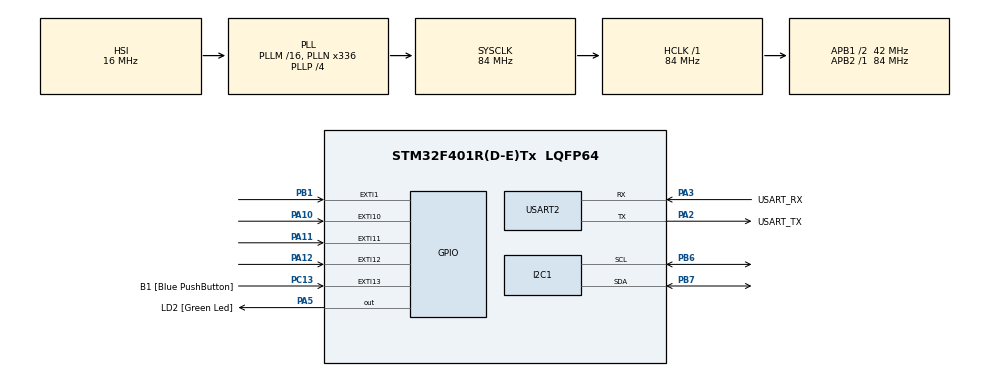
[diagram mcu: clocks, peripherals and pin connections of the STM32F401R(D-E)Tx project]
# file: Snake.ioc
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Mcu.Family=STM32F4
Mcu.Name=STM32F401R(D-E)Tx
Mcu.Package=LQFP64
NVIC.EXTI15_10_IRQn=true\:0\:0\:false\:false\:true\:true\:true\:true
NVIC.EXTI1_IRQn=true\:0\:0\:false\:false\:true\:true\:true\:true
NVIC.PriorityGroup=NVIC_PRIORITYGROUP_4
NVIC.TIM3_IRQn=true\:0\:0\:false\:false\:true\:true\:true\:true
PA10.GPIO_PuPd=GPIO_PULLUP
PA10.Signal=GPXTI10
PA11.GPIO_PuPd=GPIO_PULLUP
PA11.Signal=GPXTI11
PA12.GPIO_PuPd=GPIO_PULLUP
PA12.Signal=GPXTI12
PA13.GPIO_Label=TMS
PA13.Mode=Trace_Asynchronous_SW
PA13.Signal=SYS_JTMS-SWDIO
PA14.GPIO_Label=TCK
PA14.Mode=Trace_Asynchronous_SW
PA14.Signal=SYS_JTCK-SWCLK
PA2.GPIO_Label=USART_TX
PA2.GPIO_Mode=GPIO_MODE_AF_PP
PA2.GPIO_PuPd=GPIO_NOPULL
PA2.GPIO_Speed=GPIO_SPEED_FREQ_LOW
PA2.Mode=Asynchronous
PA2.Signal=USART2_TX
PA3.GPIO_Label=USART_RX
PA3.GPIO_Mode=GPIO_MODE_AF_PP
PA3.GPIO_PuPd=GPIO_NOPULL
PA3.GPIO_Speed=GPIO_SPEED_FREQ_LOW
PA3.Mode=Asynchronous
PA3.Signal=USART2_RX
PA5.GPIO_Label=LD2 [Green Led]
PA5.GPIO_Mode=GPIO_MODE_OUTPUT_PP
PA5.GPIO_PuPd=GPIO_NOPULL
PA5.GPIO_Speed=GPIO_SPEED_FREQ_LOW
PA5.Signal=GPIO_Output
PB1.GPIO_PuPd=GPIO_PULLUP
PB1.Signal=GPXTI1
PB3.GPIO_Label=SWO
PB3.Mode=Trace_Asynchronous_SW
PB3.Signal=SYS_JTDO-SWO
PB6.Mode=I2C
PB6.Signal=I2C1_SCL
PB7.Mode=I2C
PB7.Signal=I2C1_SDA
PC13-ANTI_TAMP.GPIO_Label=B1 [Blue PushButton]
PC13-ANTI_TAMP.GPIO_ModeDefaultEXTI=GPIO_MODE_IT_FALLING
PC13-ANTI_TAMP.GPIO_PuPd=GPIO_PULLDOWN
PC13-ANTI_TAMP.Signal=GPXTI13
PC14-OSC32_IN.Mode=LSE-External-Oscillator
PC14-OSC32_IN.Signal=RCC_OSC32_IN
PC15-OSC32_OUT.Mode=LSE-External-Oscillator
PC15-OSC32_OUT.Signal=RCC_OSC32_OUT
PH0\ -\ OSC_IN.Mode=HSE-External-Clock-Source
PH0\ -\ OSC_IN.Signal=RCC_OSC_IN
PH1\ -\ OSC_OUT.Mode=HSE-External-Clock-Source
PH1\ -\ OSC_OUT.Signal=RCC_OSC_OUT
ProjectManager.HeapSize=0x200
ProjectManager.StackSize=0x400
ProjectManager.TargetToolchain=STM32CubeIDE
RCC.48MHZClocksFreq_Value=48000000
RCC.AHBFreq_Value=84000000
RCC.APB1CLKDivider=RCC_HCLK_DIV2
RCC.APB1Freq_Value=42000000
RCC.APB1TimFreq_Value=84000000
RCC.APB2Freq_Value=84000000
RCC.APB2TimFreq_Value=84000000
RCC.CortexFreq_Value=84000000
RCC.HCLKFreq_Value=84000000
RCC.HSE_VALUE=8000000
RCC.HSI_VALUE=16000000
RCC.PLLN=336
RCC.PLLP=RCC_PLLP_DIV4
RCC.PLLQ=7
RCC.SYSCLKFreq_VALUE=84000000
RCC.SYSCLKSource=RCC_SYSCLKSOURCE_PLLCLK
RCC.VCOOutputFreq_Value=336000000
TIM3.AutoReloadPreload=TIM_AUTORELOAD_PRELOAD_ENABLE
TIM3.Prescaler=640
USART2.VirtualMode=VM_ASYNC
VP_TIM3_VS_ClockSourceINT.Mode=Internal
board=NUCLEO-F401RE

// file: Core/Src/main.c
/* USER CODE BEGIN Header */
/**
  ******************************************************************************
  * @file           : main.c
  * @brief          : Main program body
  ******************************************************************************
  * @attention
  *
  * Copyright (c) 2025 STMicroelectronics.
  * All rights reserved.
  *
  * This software is licensed under terms that can be found in the LICENSE file
  * in the root directory of this software component.
  * If no LICENSE file comes with this software, it is provided AS-IS.
  *
  ******************************************************************************
  */
/* USER CODE END Header */
#include "main.h"

/* USER CODE BEGIN Includes */
#include "snake.h"
#include "i2c-lcd.h"
/* USER CODE END Includes */

I2C_HandleTypeDef hi2c1;

TIM_HandleTypeDef htim3;

UART_HandleTypeDef huart2;

void SystemClock_Config(void);
static void MX_GPIO_Init(void);
static void MX_TIM3_Init(void);
static void MX_USART2_UART_Init(void);
static void MX_I2C1_Init(void);
/* USER CODE BEGIN PFP */
void HAL_TIM_PeriodElapsedCallback(TIM_HandleTypeDef *htim);
/* USER CODE END PFP */

/* USER CODE BEGIN 0 */

Snake snake;

/* USER CODE END 0 */

int main(void)
{

  /* MCU Configuration--------------------------------------------------------*/

  /* Reset of all peripherals, Initializes the Flash interface and the Systick. */
  HAL_Init();

  /* Configure the system clock */
  SystemClock_Config();

  /* Initialize all configured peripherals */
  MX_GPIO_Init();
  MX_TIM3_Init();
  MX_USART2_UART_Init();
  MX_I2C1_Init();
  /* USER CODE BEGIN 2 */
  HAL_TIM_Base_Start_IT(&htim3);
  srand(time(NULL));
  lcd_init();
  lcd_clear_display();

  snake.game_status = 0;
  /* USER CODE END 2 */

  /* Infinite loop */
  while (1)
  {

    /* USER CODE BEGIN 3 */
	  //display(&snake);
	  if (snake.game_status == 0) {
		  clear_screen();
		  lcd_cursor_pos(0, 0);
		  lcd_send_string("SNAKE GAME!");
		  while (HAL_GPIO_ReadPin(GPIOC, GPIO_PIN_13));
		  snake.game_status = 1;
		  snake_init(&snake);
	  }
	  else if (snake.game_status == 1) {
		  //generate_food(&snake);
		  //display(&snake);
	  }
	  else {
		  clear_screen();
		  lcd_cursor_pos(0, 0);
		  lcd_send_string("GAME OVER!");
		  lcd_cursor_pos(1, 0);
		  lcd_send_string("SCORE: ");
		  lcd_cursor_pos(2, 0);
		  char str[10];
		  sprintf(str, "%d", snake.size);
		  lcd_send_string(str);
		  while (HAL_GPIO_ReadPin(GPIOC, GPIO_PIN_13));
		  snake.game_status = 0;
	  }
  }
  /* USER CODE END 3 */
}

void SystemClock_Config(void)
{
  RCC_OscInitTypeDef RCC_OscInitStruct = {0};
  RCC_ClkInitTypeDef RCC_ClkInitStruct = {0};

  /** Configure the main internal regulator output voltage
  */
  __HAL_RCC_PWR_CLK_ENABLE();
  __HAL_PWR_VOLTAGESCALING_CONFIG(PWR_REGULATOR_VOLTAGE_SCALE2);

  /** Initializes the RCC Oscillators according to the specified parameters
  * in the RCC_OscInitTypeDef structure.
  */
  RCC_OscInitStruct.OscillatorType = RCC_OSCILLATORTYPE_HSI;
  RCC_OscInitStruct.HSIState = RCC_HSI_ON;
  RCC_OscInitStruct.HSICalibrationValue = RCC_HSICALIBRATION_DEFAULT;
  RCC_OscInitStruct.PLL.PLLState = RCC_PLL_ON;
  RCC_OscInitStruct.PLL.PLLSource = RCC_PLLSOURCE_HSI;
  RCC_OscInitStruct.PLL.PLLM = 16;
  RCC_OscInitStruct.PLL.PLLN = 336;
  RCC_OscInitStruct.PLL.PLLP = RCC_PLLP_DIV4;
  RCC_OscInitStruct.PLL.PLLQ = 7;
  if (HAL_RCC_OscConfig(&RCC_OscInitStruct) != HAL_OK)
  {
    Error_Handler();
  }

  /** Initializes the CPU, AHB and APB buses clocks
  */
  RCC_ClkInitStruct.ClockType = RCC_CLOCKTYPE_HCLK|RCC_CLOCKTYPE_SYSCLK
                              |RCC_CLOCKTYPE_PCLK1|RCC_CLOCKTYPE_PCLK2;
  RCC_ClkInitStruct.SYSCLKSource = RCC_SYSCLKSOURCE_PLLCLK;
  RCC_ClkInitStruct.AHBCLKDivider = RCC_SYSCLK_DIV1;
  RCC_ClkInitStruct.APB1CLKDivider = RCC_HCLK_DIV2;
  RCC_ClkInitStruct.APB2CLKDivider = RCC_HCLK_DIV1;

  if (HAL_RCC_ClockConfig(&RCC_ClkInitStruct, FLASH_LATENCY_2) != HAL_OK)
  {
    Error_Handler();
  }
}

static void MX_I2C1_Init(void)
{

  hi2c1.Instance = I2C1;
  hi2c1.Init.ClockSpeed = 100000;
  hi2c1.Init.DutyCycle = I2C_DUTYCYCLE_2;
  hi2c1.Init.OwnAddress1 = 0;
  hi2c1.Init.AddressingMode = I2C_ADDRESSINGMODE_7BIT;
  hi2c1.Init.DualAddressMode = I2C_DUALADDRESS_DISABLE;
  hi2c1.Init.OwnAddress2 = 0;
  hi2c1.Init.GeneralCallMode = I2C_GENERALCALL_DISABLE;
  hi2c1.Init.NoStretchMode = I2C_NOSTRETCH_DISABLE;
  if (HAL_I2C_Init(&hi2c1) != HAL_OK)
  {
    Error_Handler();
  }

}

static void MX_TIM3_Init(void)
{

  TIM_ClockConfigTypeDef sClockSourceConfig = {0};
  TIM_MasterConfigTypeDef sMasterConfig = {0};

  htim3.Instance = TIM3;
  htim3.Init.Prescaler = 640;
  htim3.Init.CounterMode = TIM_COUNTERMODE_UP;
  htim3.Init.Period = 65535;
  htim3.Init.ClockDivision = TIM_CLOCKDIVISION_DIV1;
  htim3.Init.AutoReloadPreload = TIM_AUTORELOAD_PRELOAD_ENABLE;
  if (HAL_TIM_Base_Init(&htim3) != HAL_OK)
  {
    Error_Handler();
  }
  sClockSourceConfig.ClockSource = TIM_CLOCKSOURCE_INTERNAL;
  if (HAL_TIM_ConfigClockSource(&htim3, &sClockSourceConfig) != HAL_OK)
  {
    Error_Handler();
  }
  sMasterConfig.MasterOutputTrigger = TIM_TRGO_RESET;
  sMasterConfig.MasterSlaveMode = TIM_MASTERSLAVEMODE_DISABLE;
  if (HAL_TIMEx_MasterConfigSynchronization(&htim3, &sMasterConfig) != HAL_OK)
  {
    Error_Handler();
  }

}

static void MX_USART2_UART_Init(void)
{

  huart2.Instance = USART2;
  huart2.Init.BaudRate = 115200;
  huart2.Init.WordLength = UART_WORDLENGTH_8B;
  huart2.Init.StopBits = UART_STOPBITS_1;
  huart2.Init.Parity = UART_PARITY_NONE;
  huart2.Init.Mode = UART_MODE_TX_RX;
  huart2.Init.HwFlowCtl = UART_HWCONTROL_NONE;
  huart2.Init.OverSampling = UART_OVERSAMPLING_16;
  if (HAL_UART_Init(&huart2) != HAL_OK)
  {
    Error_Handler();
  }

}

static void MX_GPIO_Init(void)
{
  GPIO_InitTypeDef GPIO_InitStruct = {0};

  /* GPIO Ports Clock Enable */
  __HAL_RCC_GPIOC_CLK_ENABLE();
  __HAL_RCC_GPIOH_CLK_ENABLE();
  __HAL_RCC_GPIOA_CLK_ENABLE();
  __HAL_RCC_GPIOB_CLK_ENABLE();

  /*Configure GPIO pin Output Level */
  HAL_GPIO_WritePin(LD2_GPIO_Port, LD2_Pin, GPIO_PIN_RESET);

  /*Configure GPIO pin : B1_Pin */
  GPIO_InitStruct.Pin = B1_Pin;
  GPIO_InitStruct.Mode = GPIO_MODE_IT_FALLING;
  GPIO_InitStruct.Pull = GPIO_PULLDOWN;
  HAL_GPIO_Init(B1_GPIO_Port, &GPIO_InitStruct);

  /*Configure GPIO pin : LD2_Pin */
  GPIO_InitStruct.Pin = LD2_Pin;
  GPIO_InitStruct.Mode = GPIO_MODE_OUTPUT_PP;
  GPIO_InitStruct.Pull = GPIO_NOPULL;
  GPIO_InitStruct.Speed = GPIO_SPEED_FREQ_LOW;
  HAL_GPIO_Init(LD2_GPIO_Port, &GPIO_InitStruct);

  /*Configure GPIO pin : PB1 */
  GPIO_InitStruct.Pin = GPIO_PIN_1;
  GPIO_InitStruct.Mode = GPIO_MODE_IT_RISING;
  GPIO_InitStruct.Pull = GPIO_PULLUP;
  HAL_GPIO_Init(GPIOB, &GPIO_InitStruct);

  /*Configure GPIO pins : PA10 PA11 PA12 */
  GPIO_InitStruct.Pin = GPIO_PIN_10|GPIO_PIN_11|GPIO_PIN_12;
  GPIO_InitStruct.Mode = GPIO_MODE_IT_RISING;
  GPIO_InitStruct.Pull = GPIO_PULLUP;
  HAL_GPIO_Init(GPIOA, &GPIO_InitStruct);

  /* EXTI interrupt init*/
  HAL_NVIC_SetPriority(EXTI1_IRQn, 0, 0);
  HAL_NVIC_EnableIRQ(EXTI1_IRQn);

  HAL_NVIC_SetPriority(EXTI15_10_IRQn, 0, 0);
  HAL_NVIC_EnableIRQ(EXTI15_10_IRQn);

}

/* USER CODE BEGIN 4 */
void HAL_TIM_PeriodElapsedCallback(TIM_HandleTypeDef *htim) {
	if (htim->Instance == TIM3) {
		if (snake.game_status == 1) {
			snake_update(&snake);
			display(&snake);
		}
		//display(&snake);
	}
}

void HAL_GPIO_EXTI_Callback(uint16_t GPIO_Pin) {
	// update the directions based on user input
	if (GPIO_Pin == GPIO_PIN_10) {
		snake.direction = 3; // left
	}
	else if (GPIO_Pin == GPIO_PIN_11) {
		snake.direction = 1; // down
	}
	else if (GPIO_Pin == GPIO_PIN_12) {
		snake.direction = 0; // up
	}
	else if (GPIO_Pin == GPIO_PIN_1) {
		snake.direction = 2; // right
	}
}
/* USER CODE END 4 */

void Error_Handler(void)
{
  __disable_irq();
  while (1)
  {
  }
}
